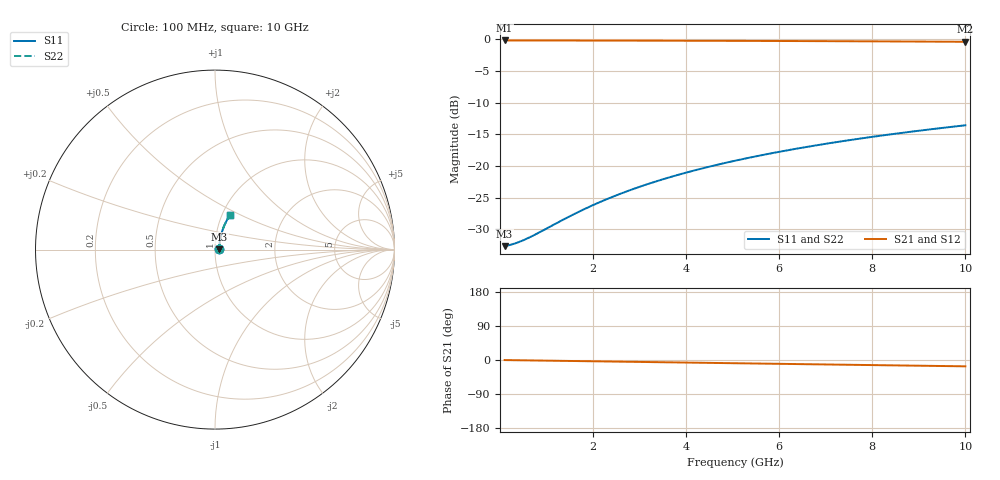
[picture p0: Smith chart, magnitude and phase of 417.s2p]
# Hz S RI R 50.00
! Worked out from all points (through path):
!   100 points, 100 MHz to 10 GHz, reference 50 ohm
!   highest |S21| = -0.20 dB at 100 MHz (marker M1); lowest = -0.4 dB at 10 GHz (marker M2)
!   group delay of S21, straight-line fit = 4.64 ps
!   lowest |S11| = -32.7 dB at 100 MHz (marker M3), VSWR 1.05, Z = 52.4 + j0.217 ohm
!   |S11| at or under -10 dB: start of sweep to end of sweep
!   |S22| runs from -32.7 to -13.6 dB; largest |S21 - S12| = 0
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1e8  0.0231 0.00207  0.9769 -0.00289  0.9769 -0.00289  0.0231 0.00207
2e8  0.0233 0.00414  0.9767 -0.00577  0.9767 -0.00577  0.0233 0.00414
3e8  0.0235 0.0062  0.9765 -0.00866  0.9765 -0.00866  0.0235 0.0062
4e8  0.0236 0.00827  0.9764 -0.0115  0.9764 -0.0115  0.0236 0.00827
6e8  0.0238 0.0124  0.9761 -0.0173  0.9761 -0.0173  0.0238 0.0124
8e8  0.0241 0.0165  0.9758 -0.0231  0.9758 -0.0231  0.0241 0.0165
1.4e9  0.0252 0.0289  0.9747 -0.0403  0.9747 -0.0403  0.0252 0.0289
1.8e9  0.0261 0.0371  0.9738 -0.0518  0.9738 -0.0518  0.0261 0.0371
2.2e9  0.0272 0.0452  0.9726 -0.0632  0.9726 -0.0632  0.0272 0.0452
2.6e9  0.0284 0.0534  0.9713 -0.0747  0.9713 -0.0747  0.0284 0.0534
3e9  0.0299 0.0615  0.9698 -0.086  0.9698 -0.086  0.0299 0.0615
3.4e9  0.0315 0.0695  0.9681 -0.0974  0.9681 -0.0974  0.0315 0.0695
3.8e9  0.0333 0.0775  0.9662 -0.1087  0.9662 -0.1087  0.0333 0.0775
4.2e9  0.0353 0.0855  0.9641 -0.1199  0.9641 -0.1199  0.0353 0.0855
4.6e9  0.0375 0.0934  0.9618 -0.1311  0.9618 -0.1311  0.0375 0.0934
5.1e9  0.0404 0.1031  0.9587 -0.145  0.9587 -0.145  0.0404 0.1031
5.9e9  0.0457 0.1186  0.953 -0.167  0.953 -0.167  0.0457 0.1186
6.7e9  0.0517 0.1336  0.9467 -0.1886  0.9467 -0.1886  0.0517 0.1336
7.5e9  0.0584 0.1484  0.9397 -0.2099  0.9397 -0.2099  0.0584 0.1484
8.4e9  0.0666 0.1645  0.9309 -0.2335  0.9309 -0.2335  0.0666 0.1645
9.2e9  0.0746 0.1783  0.9224 -0.2539  0.9224 -0.2539  0.0746 0.1783
1e10  0.0832 0.1917  0.9133 -0.274  0.9133 -0.274  0.0832 0.1917
